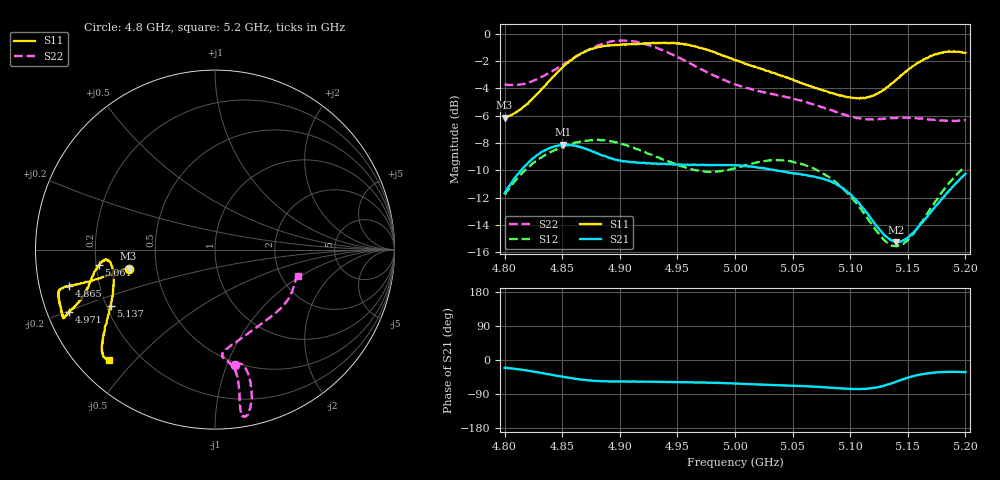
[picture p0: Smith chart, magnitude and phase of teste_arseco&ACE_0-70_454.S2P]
! Network Analyzer HP8722D
! Hewlett-Packard
! Data name: Linha & Wilkinson
! Saver's name: Rodrigo Anjos
! Comments: Teste da utilização de aquisição
! continua pelo VNA HP8722D
! Time and date: 8/5/2025 16:32
!  Frequency  S11  S21  S12  S22
# HZ  S  MA R 50
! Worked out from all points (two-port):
!   401 points, 4.8 GHz to 5.2 GHz, reference 50 ohm
!   highest |S21| = -8.13 dB at 4.851 GHz (marker M1); lowest = -15.3 dB at 5.14 GHz (marker M2)
!   |S21| within 3 dB of the highest: 4.804 GHz to 5.09 GHz (285.8 MHz wide, 5.78 % of centre); 5.190035 GHz to end of sweep
!   lowest |S11| = -6.1 dB at 4.8 GHz (marker M3), VSWR 2.95, Z = 17.2 - j4.85 ohm
!   |S11| at or under -10 dB: nowhere
!   |S22| runs from -6.4 to -0.5 dB; largest |S21 - S12| = 0.62
!   S11 on the Smith chart (normalised r, x): 4.8 GHz: 0.34, -0.10; 4.865 GHz: 0.09, -0.12; 4.971 GHz: 0.06, -0.20; 5.061 GHz: 0.21, -0.06; 5.137 GHz: 0.22, -0.24; 5.2 GHz: 0.10, -0.42
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4.8e9  0.4931 -167.5  0.2607 -20.6  0.2573 -141.7  0.6517 -80.2
4.826e9  0.588 -166.8  0.3529 -31.0  0.3381 -145.8  0.6759 -75.8
4.851e9  0.7581 -165.8  0.3922 -44.5  0.3856 -150.4  0.772 -75.0
4.865e9  0.8383 -165.9  0.385 -51.0  0.4017 -152.6  0.8379 -75.9
4.867e9  0.8496 -166.0  0.3833 -51.8  0.4031 -152.9  0.8489 -76.0
4.88e9  0.8916 -165.7  0.3648 -55.2  0.4088 -154.9  0.9032 -77.4
4.898e9  0.9088 -163.1  0.345 -56.8  0.3981 -156.9  0.9444 -79.4
4.914e9  0.9162 -159.8  0.3378 -56.9  0.3788 -157.5  0.9359 -80.7
4.934e9  0.9269 -156.5  0.3338 -57.8  0.3525 -156.0  0.8799 -80.9
4.971e9  0.8862 -156.9  0.331 -59.6  0.3136 -146.6  0.7409 -79.9
5e9  0.8015 -159.4  0.3295 -62.2  0.3221 -137.6  0.6523 -81.6
5.038e9  0.7076 -166.6  0.3144 -66.7  0.3449 -135.2  0.5949 -86.1
5.061e9  0.6523 -172.4  0.3043 -69.1  0.3304 -137.1  0.5641 -84.1
5.067e9  0.6398 -173.4  0.3004 -70.0  0.3229 -137.6  0.553 -82.7
5.087e9  0.6017 -174.5  0.2826 -74.0  0.2868 -139.3  0.5182 -74.5
5.103e9  0.5822 -171.0  0.2508 -76.6  0.2458 -139.2  0.4949 -64.5
5.134e9  0.6463 -153.4  0.1771 -63.5  0.1692 -119.0  0.4906 -42.8
5.137e9  0.6615 -151.6  0.1739 -60.5  0.1674 -115.1  0.4914 -41.1
5.14e9  0.6776 -150.3  0.1727 -57.1  0.1667 -111.1  0.4908 -39.4
5.151e9  0.7411 -145.3  0.1805 -45.9  0.1775 -97.1  0.4923 -33.6
5.172e9  0.8362 -138.9  0.2276 -33.4  0.2363 -81.2  0.4844 -24.5
5.2e9  0.8511 -133.7  0.3068 -32.0  0.3257 -77.5  0.4827 -17.7
